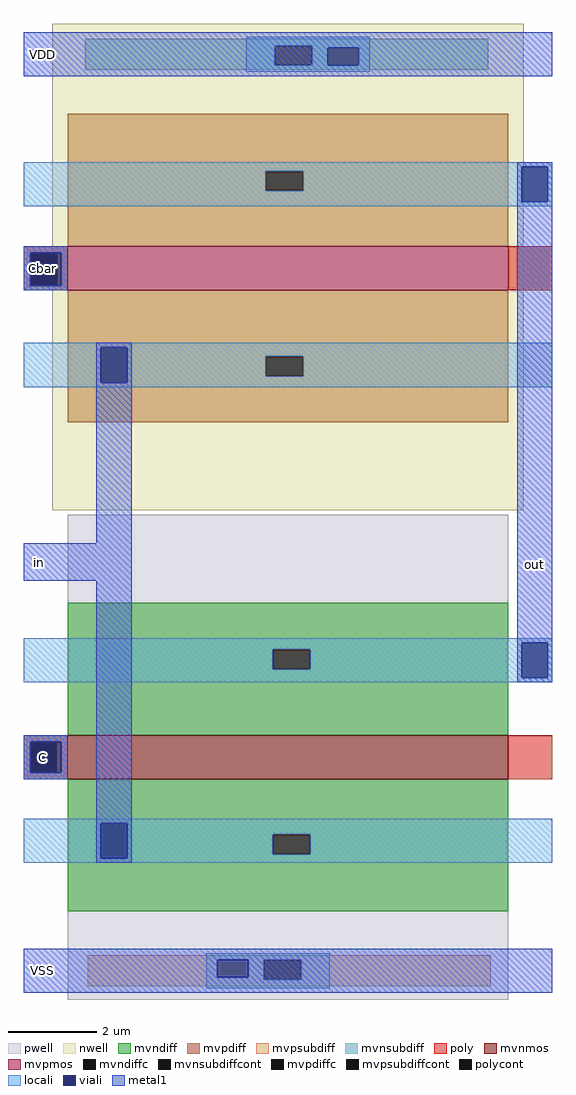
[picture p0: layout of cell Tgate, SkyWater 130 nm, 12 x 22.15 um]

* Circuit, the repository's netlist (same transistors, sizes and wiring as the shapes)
* SPICE3 file created from Tgate.ext - technology: sky130A

.subckt x5v_pfet_1_10 S G D B
X0 D G S B sky130_fd_pr__pfet_g5v0d10v5 ad=30 pd=26 as=30 ps=26 w=10 l=1
.ends

.subckt x5v_nfet_1_10 S G D B
X0 D G S B sky130_fd_pr__nfet_g5v0d10v5 ad=30 pd=26 as=30 ps=26 w=10 l=1
.ends

.subckt Tgate in out C Cbar VDD VSS
X5v_pfet_1_10_0 in Cbar out VDD x5v_pfet_1_10
X5v_nfet_1_10_0 out C in VSS x5v_nfet_1_10
.ends

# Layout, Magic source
magic
tech sky130A
<< polycont >>
rect 15 1620 75 1695
rect 15 515 75 585
<< locali >>
rect 0 1695 100 1710
rect 0 1620 15 1695
rect 85 1620 100 1695
rect 0 1610 100 1620
rect 0 585 100 600
rect 0 515 15 585
rect 85 515 100 585
rect 0 500 100 515
<< viali >>
rect 1130 1810 1190 1890
rect 15 1620 75 1695
rect 75 1620 85 1695
rect 175 1400 235 1480
rect 1130 730 1190 810
rect 15 515 75 585
rect 75 515 85 585
rect 175 320 235 400
<< metal1 >>
rect 0 2095 85 2195
rect 1120 1890 1200 1900
rect 1120 1810 1130 1890
rect 1190 1810 1200 1890
rect 0 1695 100 1710
rect 0 1620 15 1695
rect 85 1620 100 1695
rect 0 1610 100 1620
rect 165 1480 245 1490
rect 165 1400 175 1480
rect 235 1400 245 1480
rect 165 1035 245 1400
rect 0 950 245 1035
rect 0 585 100 600
rect 0 515 15 585
rect 85 515 100 585
rect 0 500 100 515
rect 165 400 245 950
rect 1120 810 1200 1810
rect 1120 730 1130 810
rect 1190 730 1200 810
rect 1120 720 1200 730
rect 165 320 175 400
rect 235 320 245 400
rect 165 310 245 320
rect 0 15 85 115
use 5v_nfet_1_10  5v_nfet_1_10_0
transform 0 1 100 -1 0 600
box -500 -100 600 1100
use 5v_pfet_1_10  5v_pfet_1_10_0
transform 0 -1 1100 1 0 1610
box -500 -100 605 1100
<< labels >>
rlabel metal1 0 950 70 1035 7 in
port 1 w
rlabel metal1 1120 945 1200 1030 3 out
port 2 e
rlabel metal1 0 500 85 600 7 C
port 3 w
rlabel metal1 0 1610 85 1710 7 Cbar
port 4 w
rlabel metal1 0 2095 85 2195 7 VDD
port 5 w
rlabel metal1 0 15 85 115 7 VSS
port 6 w
<< end >>

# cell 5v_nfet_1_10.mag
magic
tech sky130A
<< pwell >>
rect -500 0 600 1000
<< mvnmos >>
rect 0 0 100 1000
<< mvndiff >>
rect -300 550 0 1000
rect -300 465 -195 550
rect -150 465 0 550
rect -300 0 0 465
rect 100 550 400 1000
rect 100 465 225 550
rect 270 465 400 550
rect 100 0 400 465
<< mvndiffc >>
rect -195 465 -150 550
rect 225 465 270 550
<< mvpsubdiff >>
rect 500 530 570 960
rect 500 445 510 530
rect 555 445 570 530
rect 500 45 570 445
<< mvpsubdiffcont >>
rect 510 445 555 530
<< poly >>
rect 0 1000 100 1100
rect 0 -100 100 0
<< locali >>
rect -220 550 -120 1100
rect -220 465 -195 550
rect -150 465 -120 550
rect -220 -100 -120 465
rect 190 550 290 1100
rect 190 465 225 550
rect 270 465 290 550
rect 190 -100 290 465
rect 495 530 575 595
rect 495 445 510 530
rect 555 445 575 530
rect 495 410 575 445
rect 495 340 510 410
rect 550 340 575 410
rect 495 315 575 340
<< viali >>
rect 510 340 550 410
<< metal1 >>
rect 485 410 585 1100
rect 485 340 510 410
rect 550 340 585 410
rect 485 -100 585 340
<< labels >>
rlabel locali -185 1085 -185 1085 1 S
port 1 n
rlabel poly 50 1085 50 1085 1 G
port 2 n
rlabel locali 240 1070 240 1070 1 D
port 3 n
rlabel metal1 540 1070 540 1070 1 B
port 4 n
<< end >>

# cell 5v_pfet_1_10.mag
magic
tech sky130A
<< nwell >>
rect -500 -35 605 1035
<< mvpmos >>
rect 0 0 100 1000
<< mvpdiff >>
rect -300 550 0 1000
rect -300 465 -195 550
rect -150 465 0 550
rect -300 0 0 465
rect 100 550 400 1000
rect 100 465 225 550
rect 270 465 400 550
rect 100 0 400 465
<< mvpdiffc >>
rect -195 465 -150 550
rect 225 465 270 550
<< mvnsubdiff >>
rect 500 530 570 960
rect 500 445 510 530
rect 555 445 570 530
rect 500 45 570 445
<< mvnsubdiffcont >>
rect 510 445 555 530
<< poly >>
rect 0 1000 100 1100
rect 0 -100 100 0
<< locali >>
rect -220 550 -120 1100
rect -220 465 -195 550
rect -150 465 -120 550
rect -220 -100 -120 465
rect 190 550 290 1100
rect 190 465 225 550
rect 270 465 290 550
rect 190 -100 290 465
rect 495 530 575 595
rect 495 445 510 530
rect 555 445 575 530
rect 495 410 575 445
rect 495 340 510 410
rect 550 340 575 410
rect 495 315 575 340
<< viali >>
rect 510 340 550 410
<< metal1 >>
rect 485 410 585 1100
rect 485 340 510 410
rect 550 340 585 410
rect 485 -100 585 340
<< labels >>
rlabel locali -185 1085 -185 1085 1 S
port 1 n
rlabel poly 50 1085 50 1085 1 G
port 2 n
rlabel locali 240 1070 240 1070 1 D
port 3 n
rlabel metal1 540 1070 540 1070 1 B
port 4 n
<< end >>
